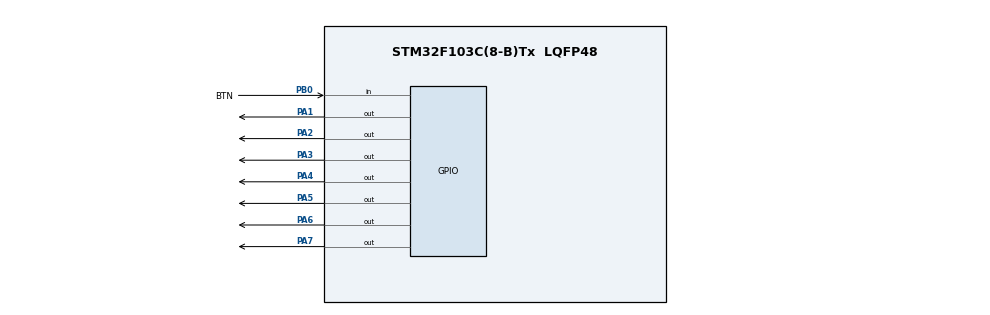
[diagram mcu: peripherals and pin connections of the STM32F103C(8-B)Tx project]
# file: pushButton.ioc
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Mcu.Family=STM32F1
Mcu.Name=STM32F103C(8-B)Tx
Mcu.Package=LQFP48
NVIC.PriorityGroup=NVIC_PRIORITYGROUP_4
PA1.Signal=GPIO_Output
PA2.Signal=GPIO_Output
PA3.Signal=GPIO_Output
PA4.Signal=GPIO_Output
PA5.Signal=GPIO_Output
PA6.Signal=GPIO_Output
PA7.Signal=GPIO_Output
PB0.GPIO_Label=BTN
PB0.GPIO_PuPd=GPIO_NOPULL
PB0.Signal=GPIO_Input
ProjectManager.HeapSize=0x200
ProjectManager.StackSize=0x400
ProjectManager.TargetToolchain=STM32CubeIDE
RCC.APB1Freq_Value=8000000
RCC.APB2Freq_Value=8000000
board=custom

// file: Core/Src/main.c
/* USER CODE BEGIN Header */
/**
 ******************************************************************************
 * @file           : main.c
 * @brief          : Main program body
 ******************************************************************************
 * @attention
 *
 * Copyright (c) 2024 STMicroelectronics.
 * All rights reserved.
 *
 * This software is licensed under terms that can be found in the LICENSE file
 * in the root directory of this software component.
 * If no LICENSE file comes with this software, it is provided AS-IS.
 *
 ******************************************************************************
 */
/* USER CODE END Header */
#include "main.h"

void SystemClock_Config(void);
static void MX_GPIO_Init(void);

int main(void) {
	/* USER CODE BEGIN 1 */
	int num = 1;

	/* USER CODE END 1 */

	/* MCU Configuration--------------------------------------------------------*/

	/* Reset of all peripherals, Initializes the Flash interface and the Systick. */
	HAL_Init();

	/* Configure the system clock */
	SystemClock_Config();

	/* Initialize all configured peripherals */
	MX_GPIO_Init();

	/* Infinite loop */
	/* USER CODE BEGIN WHILE */
	while (1) {
		if (HAL_GPIO_ReadPin(GPIOB, BTN_Pin) == 1) {
			HAL_Delay(200);
			num++;
			if (num > 9) {
				num = 1;
			}

		}

		switch (num) {
		case 1:
			MX_GPIO_Init();
			HAL_GPIO_WritePin(GPIOA, GPIO_PIN_2, 1);
			HAL_GPIO_WritePin(GPIOA, GPIO_PIN_3, 1);
			break;
		case 2:
			MX_GPIO_Init();
			HAL_GPIO_WritePin(GPIOA, GPIO_PIN_1, 1);
			HAL_GPIO_WritePin(GPIOA, GPIO_PIN_2, 1);
			HAL_GPIO_WritePin(GPIOA, GPIO_PIN_7, 1);
			HAL_GPIO_WritePin(GPIOA, GPIO_PIN_5, 1);
			HAL_GPIO_WritePin(GPIOA, GPIO_PIN_4, 1);
			break;
		case 3:
			MX_GPIO_Init();
			HAL_GPIO_WritePin(GPIOA, GPIO_PIN_1, 1);
			HAL_GPIO_WritePin(GPIOA, GPIO_PIN_2, 1);
			HAL_GPIO_WritePin(GPIOA, GPIO_PIN_7, 1);
			HAL_GPIO_WritePin(GPIOA, GPIO_PIN_3, 1);
			HAL_GPIO_WritePin(GPIOA, GPIO_PIN_4, 1);
			break;
		case 4:
			MX_GPIO_Init();
			HAL_GPIO_WritePin(GPIOA, GPIO_PIN_6, 1);
			HAL_GPIO_WritePin(GPIOA, GPIO_PIN_7, 1);
			HAL_GPIO_WritePin(GPIOA, GPIO_PIN_2, 1);
			HAL_GPIO_WritePin(GPIOA, GPIO_PIN_3, 1);
			break;
		case 5:
			MX_GPIO_Init();
			HAL_GPIO_WritePin(GPIOA, GPIO_PIN_1, 1);
			HAL_GPIO_WritePin(GPIOA, GPIO_PIN_6, 1);
			HAL_GPIO_WritePin(GPIOA, GPIO_PIN_7, 1);
			HAL_GPIO_WritePin(GPIOA, GPIO_PIN_3, 1);
			HAL_GPIO_WritePin(GPIOA, GPIO_PIN_4, 1);
			break;
		case 6:
			MX_GPIO_Init();
			HAL_GPIO_WritePin(GPIOA, GPIO_PIN_1, 1);
			HAL_GPIO_WritePin(GPIOA, GPIO_PIN_6, 1);
			HAL_GPIO_WritePin(GPIOA, GPIO_PIN_7, 1);
			HAL_GPIO_WritePin(GPIOA, GPIO_PIN_5, 1);
			HAL_GPIO_WritePin(GPIOA, GPIO_PIN_4, 1);
			HAL_GPIO_WritePin(GPIOA, GPIO_PIN_3, 1);
			break;
		case 7:
			MX_GPIO_Init();
			HAL_GPIO_WritePin(GPIOA, GPIO_PIN_1, 1);
			HAL_GPIO_WritePin(GPIOA, GPIO_PIN_2, 1);
			HAL_GPIO_WritePin(GPIOA, GPIO_PIN_3, 1);
			break;
		case 8:
			MX_GPIO_Init();
			HAL_GPIO_WritePin(GPIOA, GPIO_PIN_1, 1);
			HAL_GPIO_WritePin(GPIOA, GPIO_PIN_2, 1);
			HAL_GPIO_WritePin(GPIOA, GPIO_PIN_3, 1);
			HAL_GPIO_WritePin(GPIOA, GPIO_PIN_4, 1);
			HAL_GPIO_WritePin(GPIOA, GPIO_PIN_5, 1);
			HAL_GPIO_WritePin(GPIOA, GPIO_PIN_6, 1);
			HAL_GPIO_WritePin(GPIOA, GPIO_PIN_7, 1);
			break;
		case 9:
			MX_GPIO_Init();
			HAL_GPIO_WritePin(GPIOA, GPIO_PIN_1, 1);
			HAL_GPIO_WritePin(GPIOA, GPIO_PIN_2, 1);
			HAL_GPIO_WritePin(GPIOA, GPIO_PIN_6, 1);
			HAL_GPIO_WritePin(GPIOA, GPIO_PIN_7, 1);
			HAL_GPIO_WritePin(GPIOA, GPIO_PIN_3, 1);
			HAL_GPIO_WritePin(GPIOA, GPIO_PIN_4, 1);
			break;
		}
		/* USER CODE END WHILE */

	}
}

void SystemClock_Config(void) {
	RCC_OscInitTypeDef RCC_OscInitStruct = { 0 };
	RCC_ClkInitTypeDef RCC_ClkInitStruct = { 0 };

	/** Initializes the RCC Oscillators according to the specified parameters
	 * in the RCC_OscInitTypeDef structure.
	 */
	RCC_OscInitStruct.OscillatorType = RCC_OSCILLATORTYPE_HSI;
	RCC_OscInitStruct.HSIState = RCC_HSI_ON;
	RCC_OscInitStruct.HSICalibrationValue = RCC_HSICALIBRATION_DEFAULT;
	RCC_OscInitStruct.PLL.PLLState = RCC_PLL_NONE;
	if (HAL_RCC_OscConfig(&RCC_OscInitStruct) != HAL_OK) {
		Error_Handler();
	}

	/** Initializes the CPU, AHB and APB buses clocks
	 */
	RCC_ClkInitStruct.ClockType = RCC_CLOCKTYPE_HCLK | RCC_CLOCKTYPE_SYSCLK
			| RCC_CLOCKTYPE_PCLK1 | RCC_CLOCKTYPE_PCLK2;
	RCC_ClkInitStruct.SYSCLKSource = RCC_SYSCLKSOURCE_HSI;
	RCC_ClkInitStruct.AHBCLKDivider = RCC_SYSCLK_DIV1;
	RCC_ClkInitStruct.APB1CLKDivider = RCC_HCLK_DIV1;
	RCC_ClkInitStruct.APB2CLKDivider = RCC_HCLK_DIV1;

	if (HAL_RCC_ClockConfig(&RCC_ClkInitStruct, FLASH_LATENCY_0) != HAL_OK) {
		Error_Handler();
	}
}

static void MX_GPIO_Init(void) {
	GPIO_InitTypeDef GPIO_InitStruct = { 0 };

	/* GPIO Ports Clock Enable */
	__HAL_RCC_GPIOA_CLK_ENABLE();
	__HAL_RCC_GPIOB_CLK_ENABLE();

	/*Configure GPIO pin Output Level */
	HAL_GPIO_WritePin(GPIOA,
			GPIO_PIN_1 | GPIO_PIN_2 | GPIO_PIN_3 | GPIO_PIN_4 | GPIO_PIN_5
					| GPIO_PIN_6 | GPIO_PIN_7, GPIO_PIN_RESET);

	/*Configure GPIO pins : PA1 PA2 PA3 PA4
	 PA5 PA6 PA7 */
	GPIO_InitStruct.Pin = GPIO_PIN_1 | GPIO_PIN_2 | GPIO_PIN_3 | GPIO_PIN_4
			| GPIO_PIN_5 | GPIO_PIN_6 | GPIO_PIN_7;
	GPIO_InitStruct.Mode = GPIO_MODE_OUTPUT_PP;
	GPIO_InitStruct.Pull = GPIO_NOPULL;
	GPIO_InitStruct.Speed = GPIO_SPEED_FREQ_LOW;
	HAL_GPIO_Init(GPIOA, &GPIO_InitStruct);

	/*Configure GPIO pin : BTN_Pin */
	GPIO_InitStruct.Pin = BTN_Pin;
	GPIO_InitStruct.Mode = GPIO_MODE_INPUT;
	GPIO_InitStruct.Pull = GPIO_NOPULL;
	HAL_GPIO_Init(BTN_GPIO_Port, &GPIO_InitStruct);

}

void Error_Handler(void) {
	__disable_irq();
	while (1) {
	}
}
